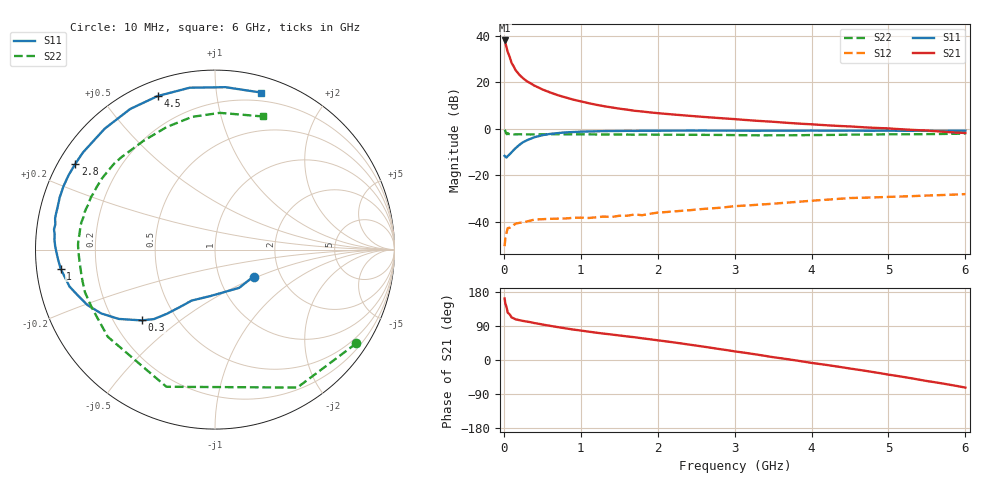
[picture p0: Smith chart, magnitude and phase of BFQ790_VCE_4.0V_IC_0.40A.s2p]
! (c) 2015  Infineon Technologies AG, Munich
! Infineon Technologies  Discrete & RF Semiconductors
! BFQ790
! VCE =  4.0 V,  IC = 0.40 A
! Common Emitter S-Parameters:  May 2015
# GHz  S  MA  R  50
!  f  S11  S21  S12  S22
! GHz  MAG  ANG  MAG  ANG  MAG  ANG  MAG  ANG
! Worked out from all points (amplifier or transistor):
!   77 points, 10 MHz to 6 GHz, reference 50 ohm
!   highest |S21| = 38.0 dB at 10 MHz (marker M1)
!   |S21| within 3 dB of that: start of sweep to 35.27 MHz
!   unconditionally stable (mu >= 1): 165.7 MHz to end of sweep
!   at 130 MHz: K = 0.89, MSG = 34.0 dB, |S12| = -41.3 dB
!   at 2.2 GHz: K = 1.38, MAG = 17.2 dB, |S12| = -35.5 dB
!   at 6 GHz: K = 1.08, MAG = 11.4 dB, |S12| = -28.1 dB
!   S11 on the Smith chart (normalised r, x): 10 MHz: 1.46, -0.47; 300 MHz: 0.32, -0.37; 1 GHz: 0.07, -0.06; 2.8 GHz: 0.05, +0.28; 4.5 GHz: 0.07, +0.69; 6 GHz: 0.13, +1.33
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0.01  0.2619 -35.0  79.15 162.2  0.003 73.2  0.9453 -33.5
0.02  0.2521 -57.7  69.93 148.4  0.0046 57.2  0.895 -59.2
0.05  0.2604 -95.9  44.94 124.9  0.0073 37.6  0.8107 -109.5
0.1  0.3123 -114.6  26.09 112.2  0.0078 21.4  0.7699 -140.9
0.15  0.3792 -121.8  18.49 107.5  0.0091 21.4  0.7587 -154.7
0.2  0.4488 -127.0  14.58 105.2  0.0095 23.4  0.7624 -161.8
0.25  0.5152 -131.3  12.17 103.1  0.0097 20.2  0.7588 -166.5
0.3  0.5677 -136.0  10.5 101.4  0.0102 18.0  0.757 -170.2
0.4  0.6604 -144.2  8.411 97.4  0.0112 17.3  0.7578 -175.2
0.5  0.7269 -150.7  7.025 93.7  0.0114 11.7  0.7608 -179.0
0.6  0.7758 -156.6  6.057 90.2  0.0116 14.1  0.7636 178.1
0.8  0.8367 -165.8  4.733 83.6  0.0118 14.7  0.7599 173.7
1  0.8667 -173.0  3.885 77.8  0.0123 13.9  0.7609 170.1
1.1  0.8758 -176.3  3.557 74.9  0.0121 16.4  0.7596 168.3
1.5  0.8973 174.6  2.712 64.8  0.0135 18.4  0.7535 162.5
2.1  0.9098 163.4  2.096 49.4  0.0162 19.2  0.7459 153.7
2.8  0.9133 148.5  1.702 29.0  0.02 11.4  0.7382 139.6
3.1  0.9102 141.4  1.566 20.0  0.0222 10.0  0.7286 133.0
4.1  0.9121 119.0  1.217 -10.4  0.0292 -5.5  0.7347 109.2
4.5  0.9132 110.5  1.124 -22.5  0.0325 -12.8  0.7504 99.8
5.1  0.9082 96.4  0.993 -41.7  0.0347 -25.8  0.7615 86.0
6  0.9118 73.7  0.811 -72.8  0.0395 -47.8  0.7877 70.3
